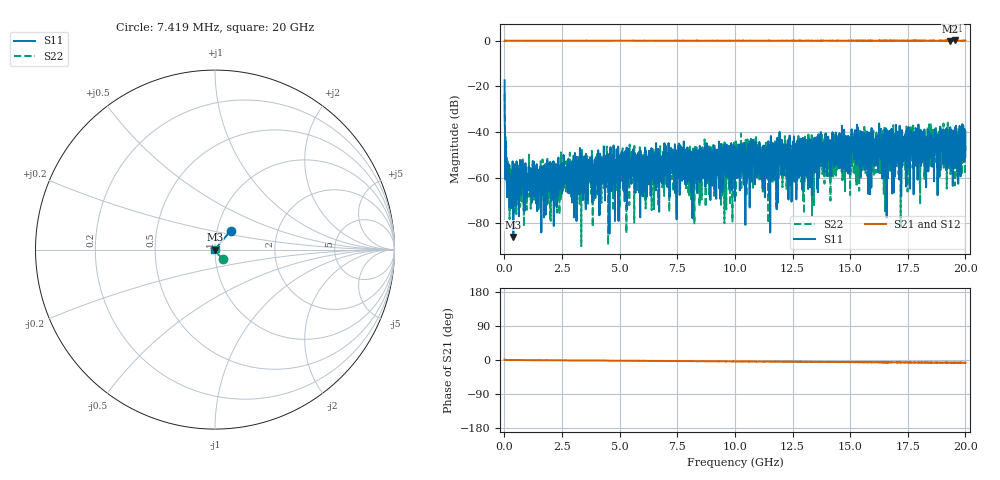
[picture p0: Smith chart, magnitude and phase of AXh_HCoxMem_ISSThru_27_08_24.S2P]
!  2-Port S-parameters saved by WinCal
! VAR MeasName=S-Parameters (CALIBRATED_DATA) read from VNA (P5004A)
! VAR MeasDate=27/08/2024 11:35:25
! VAR NAME=AXh_HCoxMem_ISSThru_27_08_24
! VAR FILENAME=AXh_HCoxMem_ISSThru_27_08_24.S2P
! VAR DATE=27/08/2024 11:35:25
! VAR PHYS_PORTS=1,2
! VAR ObjTypeName=DATASET
! VAR IndexType=Frequency
# Hz S MA R 50
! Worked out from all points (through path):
!   2699 points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, 7.419 MHz to 20 GHz, reference 50 ohm
!   highest |S21| = 0.09 dB at 19.54 GHz (marker M1); lowest = -0.1 dB at 19.34 GHz (marker M2)
!   group delay of S21, straight-line fit = 1.02 ps
!   lowest |S11| = -86.1 dB at 385.3 MHz (marker M3), VSWR 1.00, Z = 50 - j0.000582 ohm
!   |S11| at or under -10 dB: start of sweep to end of sweep
!   |S22| runs from -90.1 to -23.3 dB; largest |S21 - S12| = 0.021
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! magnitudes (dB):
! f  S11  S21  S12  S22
! 7.419 MHz  -17.3  -0.1  0.0  -23.3
! 133.4 MHz  -56.4  0.0  0.0  -56.9
! 303.8 MHz  -61.2  0.0  0.0  -59.1
! 385.3 MHz  -86.1  0.0  0.0  -62.1
! 1.934 GHz  -66.1  0.0  0.0  -59.8
! 3.031 GHz  -63.1  0.0  0.0  -61.3
! 3.342 GHz  -49.5  0.0  0.0  -52.1
! 4.617 GHz  -51.8  0.0  0.0  -56.3
! 5.661 GHz  -50.3  0.0  0.0  -50.8
! 5.906 GHz  -54.3  0.0  0.0  -53.7
! 6.677 GHz  -50.0  0.0  0.0  -58.4
! 10 GHz  -70.3  0.0  0.0  -48.5
! 10.92 GHz  -50.1  0.0  0.0  -41.7
! 11.4 GHz  -48.7  0.0  -0.1  -46.7
! 13.14 GHz  -45.2  0.0  0.0  -52.7
! 13.34 GHz  -67.8  0.0  0.0  -47.2
! 14.89 GHz  -45.0  0.0  0.0  -50.6
! 15.3 GHz  -52.3  -0.1  -0.1  -42.0
! 16.67 GHz  -52.9  0.0  0.0  -42.4
! 19.34 GHz  -37.9  -0.1  0.0  -42.2
! 19.54 GHz  -40.3  0.1  0.0  -63.4
! 20 GHz  -50.9  0.0  0.0  -48.3
